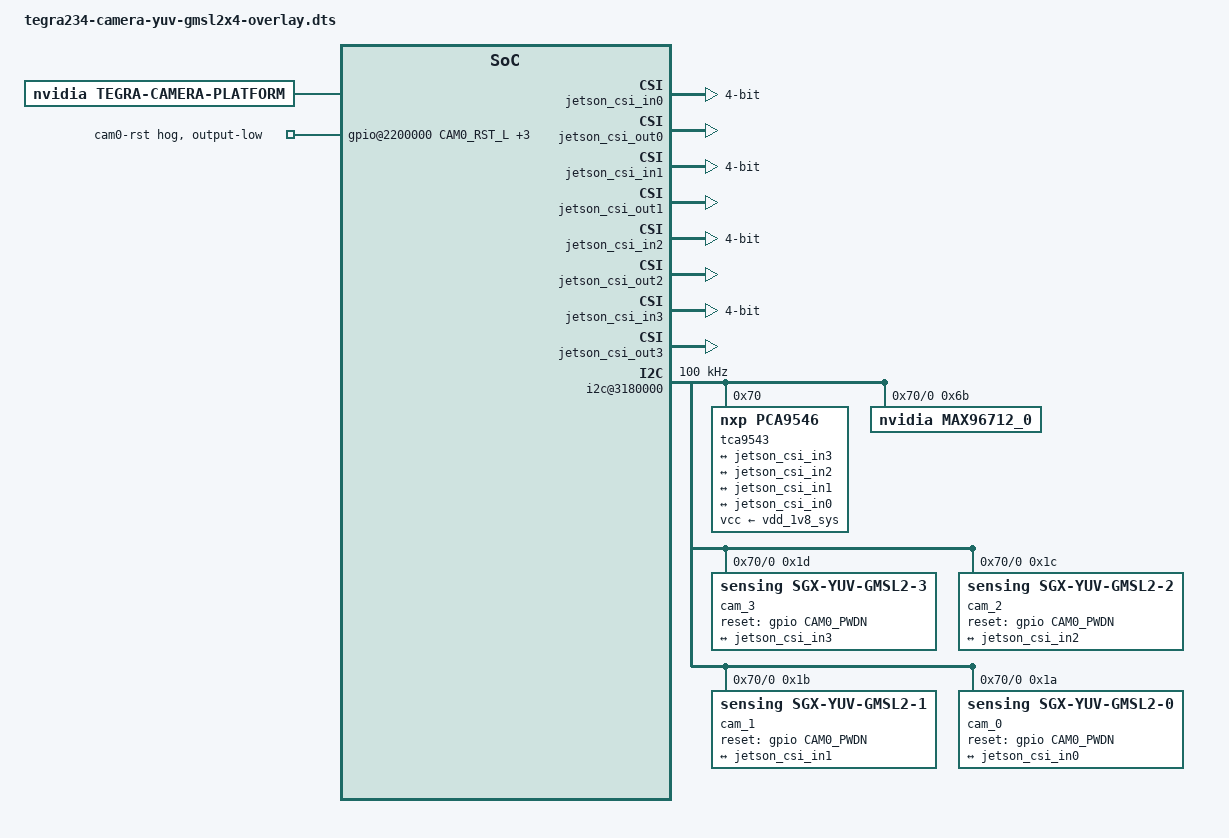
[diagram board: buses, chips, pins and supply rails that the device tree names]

// SPDX-License-Identifier: GPL-2.0-only
// SPDX-FileCopyrightText: Copyright (c) 2018-2023, INTEL CORPORATION.  All rights reserved.

/dts-v1/;
/plugin/;

#include <dt-bindings/clock/tegra234-clock.h>
#include <dt-bindings/gpio/tegra234-gpio.h>
#include <dt-bindings/tegra234-p3737-0000+p3701-0000.h>

/* camera control gpio definitions */
#define CAM0_RST_L	TEGRA234_MAIN_GPIO(H, 3)
#define CAM0_PWDN	TEGRA234_MAIN_GPIO(H, 6)
#define CAM1_RST_L	TEGRA234_MAIN_GPIO(AC, 1)
#define CAM1_PWDN	TEGRA234_MAIN_GPIO(AC, 0)
#define PWR_EN      TEGRA234_MAIN_GPIO(AC, 7)

#define CAMERA_I2C_MUX_BUS(x) (0x1E + x)

/ {
	overlay-name = "Jetson Sensing SG4A_ORIN_GMSL2 YUV GMSL2x4";
	jetson-header-name = "Jetson AGX CSI Connector";
	compatible = JETSON_COMPATIBLE;

	fragment@0 {
		target-path = "/";
		__overlay__ {
			tegra-capture-vi {
				num-channels = <4>;
				ports {
					status = "okay";
					port@0 {
						reg = <0>;
						status = "okay";
						jetson_vi_in0: endpoint {
							status = "okay";
							vc-id = <0>;
							port-index = <0>;
							bus-width = <4>;
							remote-endpoint = <&jetson_csi_out0>;
						};
					};
					port@1 {
						reg = <1>;
						status = "okay";
						jetson_vi_in1: endpoint {
							status = "okay";
							vc-id = <1>;
							port-index = <0>;
							bus-width = <4>;
							remote-endpoint = <&jetson_csi_out1>;
						};
					};
					port@2 {
						reg = <2>;
						status = "okay";
						jetson_vi_in2: endpoint {
							status = "okay";
							vc-id = <2>;
							port-index = <0>;
							bus-width = <4>;
							remote-endpoint = <&jetson_csi_out2>;
						};
					};
					port@3 {
						reg = <3>;
						status = "okay";
						jetson_vi_in3: endpoint {
							status = "okay";
							vc-id = <3>;
							port-index = <0>;
							bus-width = <4>;
							remote-endpoint = <&jetson_csi_out3>;
						};
					};
				};
			};
			
			tegra-camera-platform {
				compatible = "nvidia, tegra-camera-platform";

				num_csi_lanes = <16>;
				max_lane_speed = <2500000>;
				min_bits_per_pixel = <16>;
				vi_peak_byte_per_pixel = <2>;
				vi_bw_margin_pct = <25>;
				isp_peak_byte_per_pixel = <5>;
				isp_bw_margin_pct = <25>;

				modules {
					status = "okay";
					module0 {
						status = "okay";
						badge = "cam_position0";
						position = "position0";
						orientation = "1";
						drivernode0 {
							status = "okay";
							pcl_id = "v4l2_sensor";
							sysfs-device-tree = "/sys/firmware/devicetree/base/bus@0/i2c@3180000/tca9543@70/i2c@0/cam_0@1a";
						};
					};
					module1 {
						status = "okay";
						badge = "cam_position1";
						position = "position1";
						orientation = "1";
						drivernode0 {
							status = "okay";
							pcl_id = "v4l2_sensor";
							sysfs-device-tree = "/sys/firmware/devicetree/base/bus@0/i2c@3180000/tca9543@70/i2c@0/cam_1@1b";
						};
					};
					module2 {
						status = "okay";
						badge = "cam_position2";
						position = "position2";
						orientation = "1";
						drivernode0 {
							status = "okay";
							pcl_id = "v4l2_sensor";
							sysfs-device-tree = "/sys/firmware/devicetree/base/bus@0/i2c@3180000/tca9543@70/i2c@0/cam_2@1c";
						};
					};
					module3 {
						status = "okay";
						badge = "cam_position3";
						position = "position3";
						orientation = "1";
						drivernode0 {
							status = "okay";
							pcl_id = "v4l2_sensor";
							sysfs-device-tree = "/sys/firmware/devicetree/base/bus@0/i2c@3180000/tca9543@70/i2c@0/cam_3@1d";
						};
					};
				};
			};

			bus@0 {
				/* set camera gpio direction to output */
				gpio@2200000 {
					camera-control-output-low {
						gpio-hog;
						output-low;
						gpios = <CAM0_RST_L 0 CAM0_PWDN 0 CAM1_RST_L 0 CAM1_PWDN 0>;
						label = "cam0-rst", "cam0-pwdn", "cam1-rst", "cam1-pwdn";
					};
				};

				host1x@13e00000 {
					nvcsi@15a00000 {
						num-channels = <4>;
						channel@0 {
							reg = <0>;
							status = "okay";
							ports {
								status = "okay";
								port@0 {
									reg = <0>;
									status = "okay";
									jetson_csi_in0: endpoint@0 {
										status = "okay";
										port-index = <0>;
										bus-width = <4>;
										remote-endpoint = <&cam_csi_out0>;
									};
								};
								port@1 {
									reg = <1>;
									status = "okay";
									jetson_csi_out0: endpoint@1 {
										status = "okay";
										remote-endpoint = <&jetson_vi_in0>;
									};
								};
							};
						};
						channel@1 {
							reg = <1>;
							status = "okay";
							ports {
								status = "okay";
								port@0 {
									reg = <0>;
									status = "okay";
									jetson_csi_in1: endpoint@2 {
										status = "okay";
										port-index = <0>;
										bus-width = <4>;
										remote-endpoint = <&cam_csi_out1>;
									};
								};
								port@1 {
									reg = <1>;
									status = "okay";
									jetson_csi_out1: endpoint@3 {
										status = "okay";
										remote-endpoint = <&jetson_vi_in1>;
									};
								};
							};
						};
						channel@2 {
							reg = <2>;
							status = "okay";
							ports {
								status = "okay";
								port@0 {
									reg = <0>;
									status = "okay";
									jetson_csi_in2: endpoint@4 {
										status = "okay";
										port-index = <0>;
										bus-width = <4>;
										remote-endpoint = <&cam_csi_out2>;
									};
								};
								port@1 {
									reg = <1>;
									status = "okay";
									jetson_csi_out2: endpoint@5 {
										status = "okay";
										remote-endpoint = <&jetson_vi_in2>;
									};
								};
							};
						};
						channel@3 {
							reg = <3>;
							status = "okay";
							ports {
								status = "okay";
								port@0 {
									reg = <0>;
									status = "okay";
									jetson_csi_in3: endpoint@6 {
										status = "okay";
										port-index = <0>;
										bus-width = <4>;
										remote-endpoint = <&cam_csi_out3>;
									};
								};
								port@1 {
									reg = <1>;
									status = "okay";
									jetson_csi_out3: endpoint@7 {
										status = "okay";
										remote-endpoint = <&jetson_vi_in3>;
									};
								};
							};
						};
					};
				};
				i2c@3180000 {
					clock-frequency = <100000>;
					tca9543@70 {
						status = "okay";
						reg = <0x70>;
						compatible = "nxp,pca9546";
						#address-cells = <1>;
						#size-cells = <0>;
						skip_mux_detect = "yes";
						vcc-supply = <&vdd_1v8_sys>;
						force_bus_start = <CAMERA_I2C_MUX_BUS(0)>;

						i2c@0 {
							status = "okay";
							reg = <0>;
							i2c-mux,deselect-on-exit;
							#address-cells = <1>;
							#size-cells = <0>;

							max96712_0@6b {
								compatible = "nvidia,max96712_0";
								reg = <0x6b>;
							};

							cam_3@1d {
								compatible = "sensing,sgx-yuv-gmsl2-3";
								reg = <0x1d>;
								devnode = "video3";

								/* Physical dimensions of sensor */
								physical_w = "15.0";
								physical_h = "12.5";

								sensor_model ="sgx-yuv-gmsl2";

								/* Defines number of frames to be dropped by driver internally after applying */
								/* sensor crop settings. Some sensors send corrupt frames after applying */
								/* crop co-ordinates */
								post_crop_frame_drop = "0";

								/* Convert Gain to unit of dB (decibel) befor passing to kernel driver */
								use_decibel_gain = "true";

								/* enable CID_SENSOR_MODE_ID for sensor modes selection */
								use_sensor_mode_id = "true";

								clocks = <&bpmp TEGRA234_CLK_EXTPERIPH1>,
								<&bpmp TEGRA234_CLK_EXTPERIPH1>;
								clock-names = "extperiph1", "pllp_grtba";
								mclk = "extperiph1";
								der_id = <0>;//
								reset-gpios = <&gpio CAM0_PWDN GPIO_ACTIVE_HIGH>;

								mode0 {/*mode IMX424_MODE_1920X1080_CROP_30FPS*/
									mclk_khz = "24000";
									num_lanes = "4";
									tegra_sinterface = "serial_a";
									vc_id = "3";
									discontinuous_clk = "no";
									dpcm_enable = "false";
									cil_settletime = "0";
									dynamic_pixel_bit_depth = "16";
									csi_pixel_bit_depth = "16";
									mode_type = "yuv";
									pixel_phase = "uyvy";

									active_w = "1920";
									active_h = "1080";
									readout_orientation = "0";
									line_length = "2200";
									inherent_gain = "1";
									pix_clk_hz = "74250000";
									serdes_pix_clk_hz = "300000000";

									gain_factor = "100";
									min_gain_val = "100"; /* dB */
									max_gain_val = "1600"; /* dB */
									step_gain_val = "1"; /* 0.1 */
									default_gain = "100";
									min_hdr_ratio = "1";
									max_hdr_ratio = "1";
									framerate_factor = "1000000";
									min_framerate = "30000000";
									max_framerate = "30000000";
									step_framerate = "1";
									default_framerate = "30000000";
									exposure_factor = "1000000";
									min_exp_time = "28"; /*us, 2 lines*/
									max_exp_time = "22000";
									step_exp_time = "1";
									default_exp_time = "22000";/* us */
									embedded_metadata_height = "0";
								};
								mode1 {/*mode IMX424_MODE_1920X1536_CROP_30FPS*/
									mclk_khz = "24000";
									num_lanes = "4";
									tegra_sinterface = "serial_a";
									vc_id = "3";
									discontinuous_clk = "no";
									dpcm_enable = "false";
									cil_settletime = "0";
									dynamic_pixel_bit_depth = "16";
									csi_pixel_bit_depth = "16";
									mode_type = "yuv";
									pixel_phase = "uyvy";

									active_w = "1920";
									active_h = "1536";
									readout_orientation = "0";
									line_length = "2200";
									inherent_gain = "1";
									pix_clk_hz = "74250000";
									serdes_pix_clk_hz = "300000000";

									gain_factor = "100";
									min_gain_val = "100"; /* dB */
									max_gain_val = "1600"; /* dB */
									step_gain_val = "1"; /* 0.1 */
									default_gain = "100";
									min_hdr_ratio = "1";
									max_hdr_ratio = "1";
									framerate_factor = "1000000";
									min_framerate = "30000000";
									max_framerate = "30000000";
									step_framerate = "1";
									default_framerate = "30000000";
									exposure_factor = "1000000";
									min_exp_time = "28"; /*us, 2 lines*/
									max_exp_time = "22000";
									step_exp_time = "1";
									default_exp_time = "22000";/* us */
									embedded_metadata_height = "0";
								};
								mode2 {//sg2-gmsl2-gw5xxx(2880*1680)
									mclk_khz = "24000";
									num_lanes = "4";
									tegra_sinterface = "serial_a";
									vc_id = "0";
									discontinuous_clk = "no";
									dpcm_enable = "false";
									cil_settletime = "0";
									dynamic_pixel_bit_depth = "16";
									csi_pixel_bit_depth = "16";
									mode_type = "yuv";
									pixel_phase = "uyvy";
								
									active_w = "2880";
									active_h = "1860";
									readout_orientation = "0";
									line_length = "3200";
									inherent_gain = "1";
									pix_clk_hz = "297000000";
									serdes_pix_clk_hz = "300000000";

									gain_factor = "100";
									min_gain_val = "100"; /* dB */
									max_gain_val = "1600"; /* dB */
									step_gain_val = "1"; /* 0.1 */
									default_gain = "100";
									min_hdr_ratio = "1";
									max_hdr_ratio = "1";
									framerate_factor = "1000000";
									min_framerate = "30000000";
									max_framerate = "30000000";
									step_framerate = "1";
									default_framerate = "30000000";
									exposure_factor = "1000000";
									min_exp_time = "59"; /*us, 2 lines*/
									max_exp_time = "33333";
									step_exp_time = "1";
									default_exp_time = "33333";/* us */
									embedded_metadata_height = "0";
								};
								mode3 {/*mode IMX424_MODE_3840X2160_CROP_30FPS*/
									mclk_khz = "24000";
									num_lanes = "4";
									tegra_sinterface = "serial_a";
									vc_id = "3";
									discontinuous_clk = "no";
									dpcm_enable = "false";
									cil_settletime = "0";
									dynamic_pixel_bit_depth = "16";
									csi_pixel_bit_depth = "16";
									mode_type = "yuv";
									pixel_phase = "uyvy";

									active_w = "3840";
									active_h = "2160";
									readout_orientation = "0";
									line_length = "4200";
									inherent_gain = "1";
									pix_clk_hz = "248832000";
									serdes_pix_clk_hz = "300000000";

									gain_factor = "100";
									min_gain_val = "100"; /* dB */
									max_gain_val = "1600"; /* dB */
									step_gain_val = "1"; /* 0.1 */
									default_gain = "100";
									min_hdr_ratio = "1";
									max_hdr_ratio = "1";
									framerate_factor = "1000000";
									min_framerate = "30000000";
									max_framerate = "30000000";
									step_framerate = "1";
									default_framerate = "30000000";
									exposure_factor = "1000000";
									min_exp_time = "28"; /*us, 2 lines*/
									max_exp_time = "22000";
									step_exp_time = "1";
									default_exp_time = "22000";/* us */
									embedded_metadata_height = "0";
								};
								mode4 {//sg2-gmsl2-gw5xxx(1600*1300)
									mclk_khz = "24000";
									num_lanes = "4";
									tegra_sinterface = "serial_a";
									vc_id = "1";
									discontinuous_clk = "no";
									dpcm_enable = "false";
									cil_settletime = "0";
									dynamic_pixel_bit_depth = "16";
									csi_pixel_bit_depth = "16";
									mode_type = "yuv";
									pixel_phase = "uyvy";
									
									active_w = "1600";
									active_h = "1300";
									readout_orientation = "0";
									line_length = "2200";
									inherent_gain = "1";
									pix_clk_hz = "200000000";
									serdes_pix_clk_hz = "300000000";

									gain_factor = "16";
									framerate_factor = "1000000";
									exposure_factor = "1000000";
									min_gain_val = "16"; /* 1.0 */
									max_gain_val = "256"; /* 16.0 */
									step_gain_val = "1"; /* 0.125 */
									default_gain = "16";
									min_hdr_ratio = "1";
									max_hdr_ratio = "1";
									min_framerate = "30000000"; /* 1.5 */
									max_framerate = "30000000"; /* 30 */
									step_framerate = "1";
									default_framerate= "30000000";
									min_exp_time = "34"; /* us */
									max_exp_time = "550385"; /* us */
									step_exp_time = "1";
									default_exp_time = "33334";/* us */
									embedded_metadata_height = "0";
								};

								ports {
									#address-cells = <1>;
									#size-cells = <0>;
									port@0 {
										reg = <0>;
										cam_csi_out3: endpoint {
											vc-id = <3>;
											port-index = <0>;
											bus-width = <4>;
											remote-endpoint = <&jetson_csi_in3>;
										};
									};
								};
							};
							cam_2@1c {
								compatible = "sensing,sgx-yuv-gmsl2-2";
								reg = <0x1c>;
								devnode = "video2";

								/* Physical dimensions of sensor */
								physical_w = "15.0";
								physical_h = "12.5";

								sensor_model ="sgx-yuv-gmsl2";

								/* Defines number of frames to be dropped by driver internally after applying */
								/* sensor crop settings. Some sensors send corrupt frames after applying */
								/* crop co-ordinates */
								post_crop_frame_drop = "0";

								/* Convert Gain to unit of dB (decibel) befor passing to kernel driver */
								use_decibel_gain = "true";

								/* enable CID_SENSOR_MODE_ID for sensor modes selection */
								use_sensor_mode_id = "true";

								clocks = <&bpmp TEGRA234_CLK_EXTPERIPH1>,
								<&bpmp TEGRA234_CLK_EXTPERIPH1>;
								clock-names = "extperiph1", "pllp_grtba";
								mclk = "extperiph1";
								der_id = <0>;//
								reset-gpios = <&gpio CAM0_PWDN GPIO_ACTIVE_HIGH>;

								mode0 {/*mode IMX424_MODE_1920X1080_CROP_30FPS*/
									mclk_khz = "24000";
									num_lanes = "4";
									tegra_sinterface = "serial_a";
									vc_id = "2";
									discontinuous_clk = "no";
									dpcm_enable = "false";
									cil_settletime = "0";
									dynamic_pixel_bit_depth = "16";
									csi_pixel_bit_depth = "16";
									mode_type = "yuv";
									pixel_phase = "uyvy";

									active_w = "1920";
									active_h = "1080";
									readout_orientation = "0";
									line_length = "2200";
									inherent_gain = "1";
									pix_clk_hz = "74250000";
									serdes_pix_clk_hz = "300000000";

									gain_factor = "100";
									min_gain_val = "100"; /* dB */
									max_gain_val = "1600"; /* dB */
									step_gain_val = "1"; /* 0.1 */
									default_gain = "100";
									min_hdr_ratio = "1";
									max_hdr_ratio = "1";
									framerate_factor = "1000000";
									min_framerate = "30000000";
									max_framerate = "30000000";
									step_framerate = "1";
									default_framerate = "30000000";
									exposure_factor = "1000000";
									min_exp_time = "28"; /*us, 2 lines*/
									max_exp_time = "22000";
									step_exp_time = "1";
									default_exp_time = "22000";/* us */
									embedded_metadata_height = "0";
								};
								mode1 {/*mode isx031_MODE_1920X1536_CROP_30FPS*/
									mclk_khz = "24000";
									num_lanes = "4";
									tegra_sinterface = "serial_a";
									vc_id = "2";
									discontinuous_clk = "no";
									dpcm_enable = "false";
									cil_settletime = "0";
									dynamic_pixel_bit_depth = "16";
									csi_pixel_bit_depth = "16";
									mode_type = "yuv";
									pixel_phase = "uyvy";

									active_w = "1920";
									active_h = "1536";
									readout_orientation = "0";
									line_length = "2200";
									inherent_gain = "1";
									pix_clk_hz = "74250000";
									serdes_pix_clk_hz = "300000000";

									gain_factor = "100";
									min_gain_val = "100"; /* dB */
									max_gain_val = "1600"; /* dB */
									step_gain_val = "1"; /* 0.1 */
									default_gain = "100";
									min_hdr_ratio = "1";
									max_hdr_ratio = "1";
									framerate_factor = "1000000";
									min_framerate = "30000000";
									max_framerate = "30000000";
									step_framerate = "1";
									default_framerate = "30000000";
									exposure_factor = "1000000";
									min_exp_time = "28"; /*us, 2 lines*/
									max_exp_time = "22000";
									step_exp_time = "1";
									default_exp_time = "22000";/* us */
									embedded_metadata_height = "0";
								};
								mode2 {//sg2-gmsl2-gw5xxx(2880*1680)
									mclk_khz = "24000";
									num_lanes = "4";
									tegra_sinterface = "serial_a";
									vc_id = "0";
									discontinuous_clk = "no";
									dpcm_enable = "false";
									cil_settletime = "0";
									dynamic_pixel_bit_depth = "16";
									csi_pixel_bit_depth = "16";
									mode_type = "yuv";
									pixel_phase = "uyvy";
								
									active_w = "2880";
									active_h = "1860";
									readout_orientation = "0";
									line_length = "3200";
									inherent_gain = "1";
									pix_clk_hz = "297000000";
									serdes_pix_clk_hz = "300000000";

									gain_factor = "100";
									min_gain_val = "100"; /* dB */
									max_gain_val = "1600"; /* dB */
									step_gain_val = "1"; /* 0.1 */
									default_gain = "100";
									min_hdr_ratio = "1";
									max_hdr_ratio = "1";
									framerate_factor = "1000000";
									min_framerate = "30000000";
									max_framerate = "30000000";
									step_framerate = "1";
									default_framerate = "30000000";
									exposure_factor = "1000000";
									min_exp_time = "59"; /*us, 2 lines*/
									max_exp_time = "33333";
									step_exp_time = "1";
									default_exp_time = "33333";/* us */
									embedded_metadata_height = "0";
								};
								mode3 {/*mode IMX424_MODE_3840X1080_CROP_30FPS*/
									mclk_khz = "24000";
									num_lanes = "4";
									tegra_sinterface = "serial_a";
									vc_id = "2";
									discontinuous_clk = "no";
									dpcm_enable = "false";
									cil_settletime = "0";
									dynamic_pixel_bit_depth = "16";
									csi_pixel_bit_depth = "16";
									mode_type = "yuv";
									pixel_phase = "uyvy";

									active_w = "3840";
									active_h = "2160";
									readout_orientation = "0";
									line_length = "4200";
									inherent_gain = "1";
									pix_clk_hz = "248832000";
									serdes_pix_clk_hz = "300000000";

									gain_factor = "100";
									min_gain_val = "100"; /* dB */
									max_gain_val = "1600"; /* dB */
									step_gain_val = "1"; /* 0.1 */
									default_gain = "100";
									min_hdr_ratio = "1";
									max_hdr_ratio = "1";
									framerate_factor = "1000000";
									min_framerate = "30000000";
									max_framerate = "30000000";
									step_framerate = "1";
									default_framerate = "30000000";
									exposure_factor = "1000000";
									min_exp_time = "28"; /*us, 2 lines*/
									max_exp_time = "22000";
									step_exp_time = "1";
									default_exp_time = "22000";/* us */
									embedded_metadata_height = "0";
								};
								mode4 {//sg2-gmsl2-gw5xxx(1600*1300)
									mclk_khz = "24000";
									num_lanes = "4";
									tegra_sinterface = "serial_a";
									vc_id = "1";
									discontinuous_clk = "no";
									dpcm_enable = "false";
									cil_settletime = "0";
									dynamic_pixel_bit_depth = "16";
									csi_pixel_bit_depth = "16";
									mode_type = "yuv";
									pixel_phase = "uyvy";
									
									active_w = "1600";
									active_h = "1300";
									readout_orientation = "0";
									line_length = "2200";
									inherent_gain = "1";
									pix_clk_hz = "200000000";
									serdes_pix_clk_hz = "300000000";

									gain_factor = "16";
									framerate_factor = "1000000";
									exposure_factor = "1000000";
									min_gain_val = "16"; /* 1.0 */
									max_gain_val = "256"; /* 16.0 */
									step_gain_val = "1"; /* 0.125 */
									default_gain = "16";
									min_hdr_ratio = "1";
									max_hdr_ratio = "1";
									min_framerate = "30000000"; /* 1.5 */
									max_framerate = "30000000"; /* 30 */
									step_framerate = "1";
									default_framerate= "30000000";
									min_exp_time = "34"; /* us */
									max_exp_time = "550385"; /* us */
									step_exp_time = "1";
									default_exp_time = "33334";/* us */
									embedded_metadata_height = "0";
								};

								ports {
									#address-cells = <1>;
									#size-cells = <0>;
									port@0 {
										reg = <0>;
										cam_csi_out2: endpoint {
											vc-id = <2>;
											port-index = <0>;
											bus-width = <4>;
											remote-endpoint = <&jetson_csi_in2>;
										};
									};
								};
							};
							cam_1@1b {
								compatible = "sensing,sgx-yuv-gmsl2-1";
								reg = <0x1b>;
								devnode = "video1";

								/* Physical dimensions of sensor */
								physical_w = "15.0";
								physical_h = "12.5";

								sensor_model ="sgx-yuv-gmsl2";

								/* Defines number of frames to be dropped by driver internally after applying */
								/* sensor crop settings. Some sensors send corrupt frames after applying */
								/* crop co-ordinates */
								post_crop_frame_drop = "0";

								/* Convert Gain to unit of dB (decibel) befor passing to kernel driver */
								use_decibel_gain = "true";

								/* enable CID_SENSOR_MODE_ID for sensor modes selection */
								use_sensor_mode_id = "true";

								clocks = <&bpmp TEGRA234_CLK_EXTPERIPH1>,
								<&bpmp TEGRA234_CLK_EXTPERIPH1>;
								clock-names = "extperiph1", "pllp_grtba";
								mclk = "extperiph1";
								der_id = <0>;//
								reset-gpios = <&gpio CAM0_PWDN GPIO_ACTIVE_HIGH>;

								mode0 {/*mode IMX424_MODE_1920X1080_CROP_30FPS*/
									mclk_khz = "24000";
									num_lanes = "4";
									tegra_sinterface = "serial_a";
									vc_id = "1";
									discontinuous_clk = "no";
									dpcm_enable = "false";
									cil_settletime = "0";
									dynamic_pixel_bit_depth = "16";
									csi_pixel_bit_depth = "16";
									mode_type = "yuv";
									pixel_phase = "uyvy";

									active_w = "1920";
									active_h = "1080";
									readout_orientation = "0";
									line_length = "2200";
									inherent_gain = "1";
									pix_clk_hz = "74250000";
									serdes_pix_clk_hz = "300000000";

									gain_factor = "100";
									min_gain_val = "100"; /* dB */
									max_gain_val = "1600"; /* dB */
									step_gain_val = "1"; /* 0.1 */
									default_gain = "100";
									min_hdr_ratio = "1";
									max_hdr_ratio = "1";
									framerate_factor = "1000000";
									min_framerate = "30000000";
									max_framerate = "30000000";
									step_framerate = "1";
									default_framerate = "30000000";
									exposure_factor = "1000000";
									min_exp_time = "28"; /*us, 2 lines*/
									max_exp_time = "22000";
									step_exp_time = "1";
									default_exp_time = "22000";/* us */
									embedded_metadata_height = "0";
								};
								mode1 {/*mode isx031_MODE_1920X1536_CROP_30FPS*/
									mclk_khz = "24000";
									num_lanes = "4";
									tegra_sinterface = "serial_a";
									vc_id = "1";
									discontinuous_clk = "no";
									dpcm_enable = "false";
									cil_settletime = "0";
									dynamic_pixel_bit_depth = "16";
									csi_pixel_bit_depth = "16";
									mode_type = "yuv";
									pixel_phase = "uyvy";

									active_w = "1920";
									active_h = "1536";
									readout_orientation = "0";
									line_length = "2200";
									inherent_gain = "1";
									pix_clk_hz = "74250000";
									serdes_pix_clk_hz = "300000000";

									gain_factor = "100";
									min_gain_val = "100"; /* dB */
									max_gain_val = "1600"; /* dB */
									step_gain_val = "1"; /* 0.1 */
									default_gain = "100";
									min_hdr_ratio = "1";
									max_hdr_ratio = "1";
									framerate_factor = "1000000";
									min_framerate = "30000000";
									max_framerate = "30000000";
									step_framerate = "1";
									default_framerate = "30000000";
									exposure_factor = "1000000";
									min_exp_time = "28"; /*us, 2 lines*/
									max_exp_time = "22000";
									step_exp_time = "1";
									default_exp_time = "22000";/* us */
									embedded_metadata_height = "0";
								};
								mode2 {//sg2-gmsl2-gw5xxx(2880*1680)
									mclk_khz = "24000";
									num_lanes = "4";
									tegra_sinterface = "serial_a";
									vc_id = "0";
									discontinuous_clk = "no";
									dpcm_enable = "false";
									cil_settletime = "0";
									dynamic_pixel_bit_depth = "16";
									csi_pixel_bit_depth = "16";
									mode_type = "yuv";
									pixel_phase = "uyvy";
								
									active_w = "2880";
									active_h = "1860";
									readout_orientation = "0";
									line_length = "3200";
									inherent_gain = "1";
									pix_clk_hz = "297000000";
									serdes_pix_clk_hz = "300000000";

									gain_factor = "100";
									min_gain_val = "100"; /* dB */
									max_gain_val = "1600"; /* dB */
									step_gain_val = "1"; /* 0.1 */
									default_gain = "100";
									min_hdr_ratio = "1";
									max_hdr_ratio = "1";
									framerate_factor = "1000000";
									min_framerate = "30000000";
									max_framerate = "30000000";
									step_framerate = "1";
									default_framerate = "30000000";
									exposure_factor = "1000000";
									min_exp_time = "59"; /*us, 2 lines*/
									max_exp_time = "33333";
									step_exp_time = "1";
									default_exp_time = "33333";/* us */
									embedded_metadata_height = "0";
								};
								mode3 {/*mode IMX424_MODE_3840X2160_CROP_30FPS*/
									mclk_khz = "24000";
									num_lanes = "4";
									tegra_sinterface = "serial_a";
									vc_id = "1";
									discontinuous_clk = "no";
									dpcm_enable = "false";
									cil_settletime = "0";
									dynamic_pixel_bit_depth = "16";
									csi_pixel_bit_depth = "16";
									mode_type = "yuv";
									pixel_phase = "uyvy";

									active_w = "3840";
									active_h = "2160";
									readout_orientation = "0";
									line_length = "4200";
									inherent_gain = "1";
									pix_clk_hz = "248832000";
									serdes_pix_clk_hz = "300000000";

									gain_factor = "100";
									min_gain_val = "100"; /* dB */
									max_gain_val = "1600"; /* dB */
									step_gain_val = "1"; /* 0.1 */
									default_gain = "100";
									min_hdr_ratio = "1";
									max_hdr_ratio = "1";
									framerate_factor = "1000000";
									min_framerate = "30000000";
									max_framerate = "30000000";
									step_framerate = "1";
									default_framerate = "30000000";
									exposure_factor = "1000000";
									min_exp_time = "28"; /*us, 2 lines*/
									max_exp_time = "22000";
									step_exp_time = "1";
									default_exp_time = "22000";/* us */
									embedded_metadata_height = "0";
								};
								mode4 {//sg2-gmsl2-gw5xxx(1600*1300)
									mclk_khz = "24000";
									num_lanes = "4";
									tegra_sinterface = "serial_a";
									vc_id = "1";
									discontinuous_clk = "no";
									dpcm_enable = "false";
									cil_settletime = "0";
									dynamic_pixel_bit_depth = "16";
									csi_pixel_bit_depth = "16";
									mode_type = "yuv";
									pixel_phase = "uyvy";
									
									active_w = "1600";
									active_h = "1300";
									readout_orientation = "0";
									line_length = "2200";
									inherent_gain = "1";
									pix_clk_hz = "200000000";
									serdes_pix_clk_hz = "300000000";

									gain_factor = "16";
									framerate_factor = "1000000";
									exposure_factor = "1000000";
									min_gain_val = "16"; /* 1.0 */
									max_gain_val = "256"; /* 16.0 */
									step_gain_val = "1"; /* 0.125 */
									default_gain = "16";
									min_hdr_ratio = "1";
									max_hdr_ratio = "1";
									min_framerate = "30000000"; /* 1.5 */
									max_framerate = "30000000"; /* 30 */
									step_framerate = "1";
									default_framerate= "30000000";
									min_exp_time = "34"; /* us */
									max_exp_time = "550385"; /* us */
									step_exp_time = "1";
									default_exp_time = "33334";/* us */
									embedded_metadata_height = "0";
								};

								ports {
									#address-cells = <1>;
									#size-cells = <0>;
									port@0 {
										reg = <0>;
										cam_csi_out1: endpoint {
											vc-id = <1>;
											port-index = <0>;
											bus-width = <4>;
											remote-endpoint = <&jetson_csi_in1>;
										};
									};
								};
							};
							cam_0@1a {
								compatible = "sensing,sgx-yuv-gmsl2-0";
								reg = <0x1a>;
								devnode = "video0";

								/* Physical dimensions of sensor */
								physical_w = "15.0";
								physical_h = "12.5";

								sensor_model ="sgx-yuv-gmsl2";

								/* Defines number of frames to be dropped by driver internally after applying */
								/* sensor crop settings. Some sensors send corrupt frames after applying */
								/* crop co-ordinates */
								post_crop_frame_drop = "0";

								/* Convert Gain to unit of dB (decibel) befor passing to kernel driver */
								use_decibel_gain = "true";

								/* enable CID_SENSOR_MODE_ID for sensor modes selection */
								use_sensor_mode_id = "true";

								clocks = <&bpmp TEGRA234_CLK_EXTPERIPH1>,
								<&bpmp TEGRA234_CLK_EXTPERIPH1>;
								clock-names = "extperiph1", "pllp_grtba";
								mclk = "extperiph1";
								der_id = <0>;//
								reset-gpios = <&gpio CAM0_PWDN GPIO_ACTIVE_HIGH>;

								mode0 {/*mode ox08b_MODE_1920X1080_CROP_30FPS*/
									mclk_khz = "24000";
									num_lanes = "4";
									tegra_sinterface = "serial_a";
									vc_id = "0";
									discontinuous_clk = "no";
									dpcm_enable = "false";
									cil_settletime = "0";
									dynamic_pixel_bit_depth = "16";
									csi_pixel_bit_depth = "16";
									mode_type = "yuv";
									pixel_phase = "uyvy";

									active_w = "1920";
									active_h = "1080";
									readout_orientation = "0";
									line_length = "2200";
									inherent_gain = "1";
									pix_clk_hz = "74250000";
									serdes_pix_clk_hz = "300000000";

									gain_factor = "100";
									min_gain_val = "100"; /* dB */
									max_gain_val = "1600"; /* dB */
									step_gain_val = "1"; /* 0.1 */
									default_gain = "100";
									min_hdr_ratio = "1";
									max_hdr_ratio = "1";
									framerate_factor = "1000000";
									min_framerate = "30000000";
									max_framerate = "30000000";
									step_framerate = "1";
									default_framerate = "30000000";
									exposure_factor = "1000000";
									min_exp_time = "28"; /*us, 2 lines*/
									max_exp_time = "22000";
									step_exp_time = "1";
									default_exp_time = "22000";/* us */
									embedded_metadata_height = "0";
								};
								mode1 {/*mode isx031_MODE_1920X1536_CROP_30FPS*/
									mclk_khz = "24000";
									num_lanes = "4";
									tegra_sinterface = "serial_a";
									vc_id = "0";
									discontinuous_clk = "no";
									dpcm_enable = "false";
									cil_settletime = "0";
									dynamic_pixel_bit_depth = "16";
									csi_pixel_bit_depth = "16";
									mode_type = "yuv";
									pixel_phase = "uyvy";

									active_w = "1920";
									active_h = "1536";
									readout_orientation = "0";
									line_length = "2200";
									inherent_gain = "1";
									pix_clk_hz = "74250000";
									serdes_pix_clk_hz = "300000000";

									gain_factor = "100";
									min_gain_val = "100"; /* dB */
									max_gain_val = "1600"; /* dB */
									step_gain_val = "1"; /* 0.1 */
									default_gain = "100";
									min_hdr_ratio = "1";
									max_hdr_ratio = "1";
									framerate_factor = "1000000";
									min_framerate = "30000000";
									max_framerate = "30000000";
									step_framerate = "1";
									default_framerate = "30000000";
									exposure_factor = "1000000";
									min_exp_time = "28"; /*us, 2 lines*/
									max_exp_time = "22000";
									step_exp_time = "1";
									default_exp_time = "22000";/* us */
									embedded_metadata_height = "0";
								};
								mode2 {//sg2-gmsl2-gw5xxx(2880*1680)
									mclk_khz = "24000";
									num_lanes = "4";
									tegra_sinterface = "serial_a";
									vc_id = "0";
									discontinuous_clk = "no";
									dpcm_enable = "false";
									cil_settletime = "0";
									dynamic_pixel_bit_depth = "16";
									csi_pixel_bit_depth = "16";
									mode_type = "yuv";
									pixel_phase = "uyvy";
								
									active_w = "2880";
									active_h = "1860";
									readout_orientation = "0";
									line_length = "3200";
									inherent_gain = "1";
									pix_clk_hz = "297000000";
									serdes_pix_clk_hz = "300000000";

									gain_factor = "100";
									min_gain_val = "100"; /* dB */
									max_gain_val = "1600"; /* dB */
									step_gain_val = "1"; /* 0.1 */
									default_gain = "100";
									min_hdr_ratio = "1";
									max_hdr_ratio = "1";
									framerate_factor = "1000000";
									min_framerate = "30000000";
									max_framerate = "30000000";
									step_framerate = "1";
									default_framerate = "30000000";
									exposure_factor = "1000000";
									min_exp_time = "59"; /*us, 2 lines*/
									max_exp_time = "33333";
									step_exp_time = "1";
									default_exp_time = "33333";/* us */
									embedded_metadata_height = "0";
								};
								mode3 {/*mode ox08b_MODE_3840X2160_CROP_30FPS*/
									mclk_khz = "24000";
									num_lanes = "4";
									tegra_sinterface = "serial_a";
									vc_id = "0";
									discontinuous_clk = "no";
									dpcm_enable = "false";
									cil_settletime = "0";
									dynamic_pixel_bit_depth = "16";
									csi_pixel_bit_depth = "16";
									mode_type = "yuv";
									pixel_phase = "uyvy";

									active_w = "3840";
									active_h = "2160";
									readout_orientation = "0";
									line_length = "4200";
									inherent_gain = "1";
									pix_clk_hz = "248832000";
									serdes_pix_clk_hz = "375000000";

									gain_factor = "100";
									min_gain_val = "100"; /* dB */
									max_gain_val = "1600"; /* dB */
									step_gain_val = "1"; /* 0.1 */
									default_gain = "100";
									min_hdr_ratio = "1";
									max_hdr_ratio = "1";
									framerate_factor = "1000000";
									min_framerate = "30000000";
									max_framerate = "30000000";
									step_framerate = "1";
									default_framerate = "30000000";
									exposure_factor = "1000000";
									min_exp_time = "28"; /*us, 2 lines*/
									max_exp_time = "22000";
									step_exp_time = "1";
									default_exp_time = "22000";/* us */
									embedded_metadata_height = "0";
								};
								mode4 {//sg2-gmsl2-gw5xxx(1600*1300)
									mclk_khz = "24000";
									num_lanes = "4";
									tegra_sinterface = "serial_a";
									vc_id = "1";
									discontinuous_clk = "no";
									dpcm_enable = "false";
									cil_settletime = "0";
									dynamic_pixel_bit_depth = "16";
									csi_pixel_bit_depth = "16";
									mode_type = "yuv";
									pixel_phase = "uyvy";
									
									active_w = "1600";
									active_h = "1300";
									readout_orientation = "0";
									line_length = "2200";
									inherent_gain = "1";
									pix_clk_hz = "200000000";
									serdes_pix_clk_hz = "300000000";

									gain_factor = "16";
									framerate_factor = "1000000";
									exposure_factor = "1000000";
									min_gain_val = "16"; /* 1.0 */
									max_gain_val = "256"; /* 16.0 */
									step_gain_val = "1"; /* 0.125 */
									default_gain = "16";
									min_hdr_ratio = "1";
									max_hdr_ratio = "1";
									min_framerate = "30000000"; /* 1.5 */
									max_framerate = "30000000"; /* 30 */
									step_framerate = "1";
									default_framerate= "30000000";
									min_exp_time = "34"; /* us */
									max_exp_time = "550385"; /* us */
									step_exp_time = "1";
									default_exp_time = "33334";/* us */
									embedded_metadata_height = "0";
								};
								
								ports {
									#address-cells = <1>;
									#size-cells = <0>;
									port@0 {
										reg = <0>;
										cam_csi_out0: endpoint {
											vc-id = <0>;
											port-index = <0>;
											bus-width = <4>;
											remote-endpoint = <&jetson_csi_in0>;
										};
									};
								};
							};
						};
					};
				};
			};
		};
	};
};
